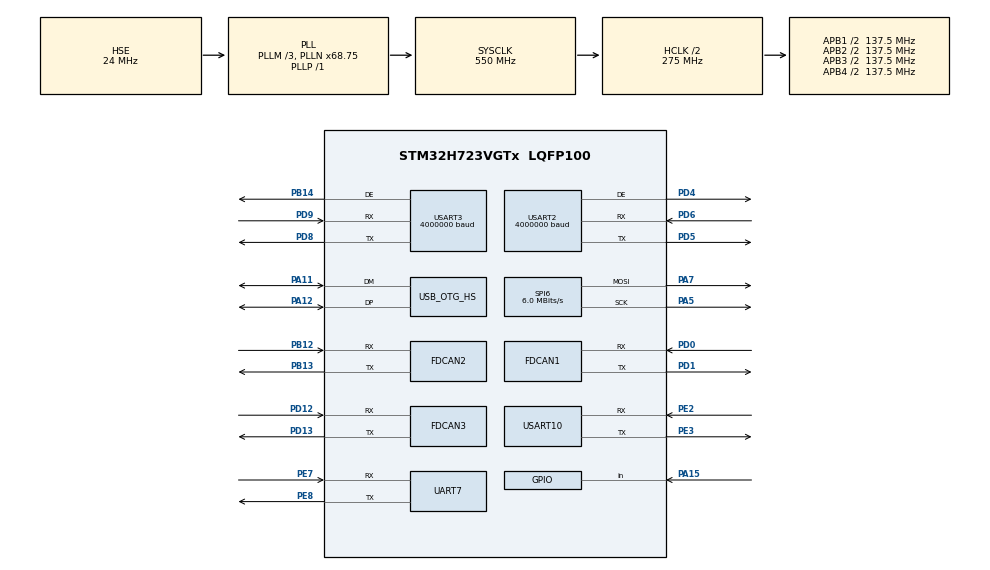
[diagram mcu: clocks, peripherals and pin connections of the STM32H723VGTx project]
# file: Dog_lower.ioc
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CORTEX_M7.AccessPermission_Spec=MPU_REGION_FULL_ACCESS
CORTEX_M7.BaseAddress_Spec=0x30000000
CORTEX_M7.CPU_DCache=Enabled
CORTEX_M7.CPU_ICache=Enabled
CORTEX_M7.DisableExec_Spec=MPU_INSTRUCTION_ACCESS_ENABLE
CORTEX_M7.Enable_S-Cortex_Memory_Protection_Unit_Region1_Settings_S=__NULL
CORTEX_M7.Enable_S-Cortex_Memory_Protection_Unit_Region2_Settings_S=__NULL
CORTEX_M7.Enable_Spec=MPU_REGION_ENABLE
CORTEX_M7.IsBufferable_Spec=MPU_ACCESS_NOT_BUFFERABLE
CORTEX_M7.IsCacheable_Spec=MPU_ACCESS_NOT_CACHEABLE
CORTEX_M7.IsShareable_Spec=MPU_ACCESS_NOT_SHAREABLE
CORTEX_M7.MPU_Control=MPU_PRIVILEGED_DEFAULT
CORTEX_M7.Size_Spec=MPU_REGION_SIZE_128KB
CORTEX_M7.SubRegionDisable_Spec=0x0
CORTEX_M7.TypeExtField_Spec=MPU_TEX_LEVEL1
CORTEX_M7.default_mode_Activation=1
Dma.Request0=UART7_RX
Dma.Request1=UART7_TX
Dma.Request2=USART2_RX
Dma.Request3=USART2_TX
Dma.Request4=USART3_RX
Dma.Request5=USART3_TX
Dma.Request6=USART10_RX
Dma.Request7=USART10_TX
Dma.UART7_RX.0.Direction=DMA_PERIPH_TO_MEMORY
Dma.UART7_RX.0.EventEnable=DISABLE
Dma.UART7_RX.0.FIFOMode=DMA_FIFOMODE_DISABLE
Dma.UART7_RX.0.Instance=DMA2_Stream2
Dma.UART7_RX.0.MemDataAlignment=DMA_MDATAALIGN_BYTE
Dma.UART7_RX.0.MemInc=DMA_MINC_ENABLE
Dma.UART7_RX.0.Mode=DMA_NORMAL
Dma.UART7_RX.0.PeriphDataAlignment=DMA_PDATAALIGN_BYTE
Dma.UART7_RX.0.PeriphInc=DMA_PINC_DISABLE
Dma.UART7_RX.0.Polarity=HAL_DMAMUX_REQ_GEN_RISING
Dma.UART7_RX.0.Priority=DMA_PRIORITY_LOW
Dma.UART7_RX.0.RequestNumber=1
Dma.UART7_RX.0.SignalID=NONE
Dma.UART7_RX.0.SyncEnable=DISABLE
Dma.UART7_RX.0.SyncPolarity=HAL_DMAMUX_SYNC_NO_EVENT
Dma.UART7_RX.0.SyncRequestNumber=1
Dma.UART7_RX.0.SyncSignalID=NONE
Dma.UART7_TX.1.Direction=DMA_MEMORY_TO_PERIPH
Dma.UART7_TX.1.EventEnable=DISABLE
Dma.UART7_TX.1.FIFOMode=DMA_FIFOMODE_DISABLE
Dma.UART7_TX.1.Instance=DMA2_Stream3
Dma.UART7_TX.1.MemDataAlignment=DMA_MDATAALIGN_BYTE
Dma.UART7_TX.1.MemInc=DMA_MINC_ENABLE
Dma.UART7_TX.1.Mode=DMA_NORMAL
Dma.UART7_TX.1.PeriphDataAlignment=DMA_PDATAALIGN_BYTE
Dma.UART7_TX.1.PeriphInc=DMA_PINC_DISABLE
Dma.UART7_TX.1.Polarity=HAL_DMAMUX_REQ_GEN_RISING
Dma.UART7_TX.1.Priority=DMA_PRIORITY_LOW
Dma.UART7_TX.1.RequestNumber=1
Dma.UART7_TX.1.SignalID=NONE
Dma.UART7_TX.1.SyncEnable=DISABLE
Dma.UART7_TX.1.SyncPolarity=HAL_DMAMUX_SYNC_NO_EVENT
Dma.UART7_TX.1.SyncRequestNumber=1
Dma.UART7_TX.1.SyncSignalID=NONE
Dma.USART10_RX.6.Direction=DMA_PERIPH_TO_MEMORY
Dma.USART10_RX.6.EventEnable=DISABLE
Dma.USART10_RX.6.FIFOMode=DMA_FIFOMODE_DISABLE
Dma.USART10_RX.6.Instance=DMA2_Stream0
Dma.USART10_RX.6.MemDataAlignment=DMA_MDATAALIGN_BYTE
Dma.USART10_RX.6.MemInc=DMA_MINC_ENABLE
Dma.USART10_RX.6.Mode=DMA_NORMAL
Dma.USART10_RX.6.PeriphDataAlignment=DMA_PDATAALIGN_BYTE
Dma.USART10_RX.6.PeriphInc=DMA_PINC_DISABLE
Dma.USART10_RX.6.Polarity=HAL_DMAMUX_REQ_GEN_RISING
Dma.USART10_RX.6.Priority=DMA_PRIORITY_MEDIUM
Dma.USART10_RX.6.RequestNumber=1
Dma.USART10_RX.6.SignalID=NONE
Dma.USART10_RX.6.SyncEnable=DISABLE
Dma.USART10_RX.6.SyncPolarity=HAL_DMAMUX_SYNC_NO_EVENT
Dma.USART10_RX.6.SyncRequestNumber=1
Dma.USART10_RX.6.SyncSignalID=NONE
Dma.USART10_TX.7.Direction=DMA_MEMORY_TO_PERIPH
Dma.USART10_TX.7.EventEnable=DISABLE
Dma.USART10_TX.7.FIFOMode=DMA_FIFOMODE_DISABLE
Dma.USART10_TX.7.Instance=DMA2_Stream1
Dma.USART10_TX.7.MemDataAlignment=DMA_MDATAALIGN_BYTE
Dma.USART10_TX.7.MemInc=DMA_MINC_ENABLE
Dma.USART10_TX.7.Mode=DMA_NORMAL
Dma.USART10_TX.7.PeriphDataAlignment=DMA_PDATAALIGN_BYTE
Dma.USART10_TX.7.PeriphInc=DMA_PINC_DISABLE
Dma.USART10_TX.7.Polarity=HAL_DMAMUX_REQ_GEN_RISING
Dma.USART10_TX.7.Priority=DMA_PRIORITY_LOW
Dma.USART10_TX.7.RequestNumber=1
Dma.USART10_TX.7.SignalID=NONE
Dma.USART10_TX.7.SyncEnable=DISABLE
Dma.USART10_TX.7.SyncPolarity=HAL_DMAMUX_SYNC_NO_EVENT
Dma.USART10_TX.7.SyncRequestNumber=1
Dma.USART10_TX.7.SyncSignalID=NONE
Dma.USART2_RX.2.Direction=DMA_PERIPH_TO_MEMORY
Dma.USART2_RX.2.EventEnable=DISABLE
Dma.USART2_RX.2.FIFOMode=DMA_FIFOMODE_DISABLE
Dma.USART2_RX.2.Instance=DMA1_Stream0
Dma.USART2_RX.2.MemDataAlignment=DMA_MDATAALIGN_BYTE
Dma.USART2_RX.2.MemInc=DMA_MINC_ENABLE
Dma.USART2_RX.2.Mode=DMA_NORMAL
Dma.USART2_RX.2.PeriphDataAlignment=DMA_PDATAALIGN_BYTE
Dma.USART2_RX.2.PeriphInc=DMA_PINC_DISABLE
Dma.USART2_RX.2.Polarity=HAL_DMAMUX_REQ_GEN_RISING
Dma.USART2_RX.2.Priority=DMA_PRIORITY_VERY_HIGH
Dma.USART2_RX.2.RequestNumber=1
Dma.USART2_RX.2.SignalID=NONE
Dma.USART2_RX.2.SyncEnable=DISABLE
Dma.USART2_RX.2.SyncPolarity=HAL_DMAMUX_SYNC_NO_EVENT
Dma.USART2_RX.2.SyncRequestNumber=1
Dma.USART2_RX.2.SyncSignalID=NONE
Dma.USART2_TX.3.Direction=DMA_MEMORY_TO_PERIPH
Dma.USART2_TX.3.EventEnable=DISABLE
Dma.USART2_TX.3.FIFOMode=DMA_FIFOMODE_DISABLE
Dma.USART2_TX.3.Instance=DMA1_Stream1
Dma.USART2_TX.3.MemDataAlignment=DMA_MDATAALIGN_BYTE
Dma.USART2_TX.3.MemInc=DMA_MINC_ENABLE
Dma.USART2_TX.3.Mode=DMA_NORMAL
Dma.USART2_TX.3.PeriphDataAlignment=DMA_PDATAALIGN_BYTE
Dma.USART2_TX.3.PeriphInc=DMA_PINC_DISABLE
Dma.USART2_TX.3.Polarity=HAL_DMAMUX_REQ_GEN_RISING
Dma.USART2_TX.3.Priority=DMA_PRIORITY_VERY_HIGH
Dma.USART2_TX.3.RequestNumber=1
Dma.USART2_TX.3.SignalID=NONE
Dma.USART2_TX.3.SyncEnable=DISABLE
Dma.USART2_TX.3.SyncPolarity=HAL_DMAMUX_SYNC_NO_EVENT
Dma.USART2_TX.3.SyncRequestNumber=1
Dma.USART2_TX.3.SyncSignalID=NONE
Dma.USART3_RX.4.Direction=DMA_PERIPH_TO_MEMORY
Dma.USART3_RX.4.EventEnable=DISABLE
Dma.USART3_RX.4.FIFOMode=DMA_FIFOMODE_DISABLE
Dma.USART3_RX.4.Instance=DMA1_Stream2
Dma.USART3_RX.4.MemDataAlignment=DMA_MDATAALIGN_BYTE
Dma.USART3_RX.4.MemInc=DMA_MINC_ENABLE
Dma.USART3_RX.4.Mode=DMA_NORMAL
Dma.USART3_RX.4.PeriphDataAlignment=DMA_PDATAALIGN_BYTE
Dma.USART3_RX.4.PeriphInc=DMA_PINC_DISABLE
Dma.USART3_RX.4.Polarity=HAL_DMAMUX_REQ_GEN_RISING
Dma.USART3_RX.4.Priority=DMA_PRIORITY_VERY_HIGH
Dma.USART3_RX.4.RequestNumber=1
Dma.USART3_RX.4.SignalID=NONE
Dma.USART3_RX.4.SyncEnable=DISABLE
Dma.USART3_RX.4.SyncPolarity=HAL_DMAMUX_SYNC_NO_EVENT
Dma.USART3_RX.4.SyncRequestNumber=1
Dma.USART3_RX.4.SyncSignalID=NONE
Dma.USART3_TX.5.Direction=DMA_MEMORY_TO_PERIPH
Dma.USART3_TX.5.EventEnable=DISABLE
Dma.USART3_TX.5.FIFOMode=DMA_FIFOMODE_DISABLE
Dma.USART3_TX.5.Instance=DMA1_Stream3
Dma.USART3_TX.5.MemDataAlignment=DMA_MDATAALIGN_BYTE
Dma.USART3_TX.5.MemInc=DMA_MINC_ENABLE
Dma.USART3_TX.5.Mode=DMA_NORMAL
Dma.USART3_TX.5.PeriphDataAlignment=DMA_PDATAALIGN_BYTE
Dma.USART3_TX.5.PeriphInc=DMA_PINC_DISABLE
Dma.USART3_TX.5.Polarity=HAL_DMAMUX_REQ_GEN_RISING
Dma.USART3_TX.5.Priority=DMA_PRIORITY_VERY_HIGH
Dma.USART3_TX.5.RequestNumber=1
Dma.USART3_TX.5.SignalID=NONE
Dma.USART3_TX.5.SyncEnable=DISABLE
Dma.USART3_TX.5.SyncPolarity=HAL_DMAMUX_SYNC_NO_EVENT
Dma.USART3_TX.5.SyncRequestNumber=1
Dma.USART3_TX.5.SyncSignalID=NONE
FDCAN1.CalculateBaudRateNominal=1000000
FDCAN1.CalculateTimeBitNominal=1000
FDCAN1.CalculateTimeQuantumNominal=100.0
FDCAN1.ExtFiltersNbr=1
FDCAN1.NominalPrescaler=12
FDCAN1.NominalTimeSeg1=6
FDCAN1.NominalTimeSeg2=3
FDCAN1.RxFifo0ElmtsNbr=32
FDCAN1.StdFiltersNbr=1
FDCAN1.TxBuffersNbr=0
FDCAN1.TxFifoQueueElmtsNbr=32
FDCAN2.CalculateBaudRateNominal=1000000
FDCAN2.CalculateTimeBitNominal=1000
FDCAN2.CalculateTimeQuantumNominal=100.0
FDCAN2.NominalPrescaler=12
FDCAN2.NominalTimeSeg1=6
FDCAN2.NominalTimeSeg2=3
FDCAN2.TxBuffersNbr=32
FDCAN3.CalculateBaudRateNominal=1000000
FDCAN3.CalculateTimeBitNominal=1000
FDCAN3.CalculateTimeQuantumNominal=100.0
FDCAN3.NominalPrescaler=12
FDCAN3.NominalTimeSeg1=6
FDCAN3.NominalTimeSeg2=3
FDCAN3.TxBuffersNbr=32
FREERTOS.INCLUDE_uxTaskGetStackHighWaterMark=1
FREERTOS.INCLUDE_vTaskDelayUntil=1
FREERTOS.Tasks01=defaultTask,0,128,StartDefaultTask,Default,NULL,Dynamic,NULL,NULL
Mcu.Family=STM32H7
Mcu.Name=STM32H723VGTx
Mcu.Package=LQFP100
NVIC.DMA1_Stream0_IRQn=true\:5\:0\:false\:false\:true\:true\:false\:true\:true
NVIC.DMA1_Stream1_IRQn=true\:5\:0\:false\:false\:true\:true\:false\:true\:true
NVIC.DMA1_Stream2_IRQn=true\:5\:0\:false\:false\:true\:false\:false\:true\:true
NVIC.DMA1_Stream3_IRQn=true\:5\:0\:false\:false\:true\:false\:false\:true\:true
NVIC.DMA2_Stream0_IRQn=true\:5\:0\:false\:false\:true\:false\:false\:true\:true
NVIC.DMA2_Stream1_IRQn=true\:5\:0\:false\:false\:true\:false\:false\:true\:true
NVIC.DMA2_Stream2_IRQn=true\:5\:0\:false\:false\:true\:false\:false\:true\:true
NVIC.DMA2_Stream3_IRQn=true\:5\:0\:false\:false\:true\:false\:false\:true\:true
NVIC.FDCAN1_IT0_IRQn=true\:5\:0\:false\:false\:true\:true\:true\:true\:true
NVIC.OTG_HS_EP1_IN_IRQn=true\:7\:0\:true\:false\:true\:true\:true\:true\:true
NVIC.OTG_HS_EP1_OUT_IRQn=true\:7\:0\:true\:false\:true\:true\:true\:true\:true
NVIC.OTG_HS_IRQn=true\:7\:0\:true\:false\:true\:true\:true\:true\:true
NVIC.PriorityGroup=NVIC_PRIORITYGROUP_4
NVIC.SPI6_IRQn=true\:5\:0\:false\:false\:true\:true\:true\:true\:true
NVIC.TIM7_IRQn=true\:15\:0\:false\:false\:true\:false\:false\:true\:true
NVIC.TIM8_UP_TIM13_IRQn=true\:5\:0\:false\:false\:true\:true\:true\:true\:true
NVIC.TimeBase=TIM7_IRQn
NVIC.TimeBaseIP=TIM7
NVIC.UART7_IRQn=true\:5\:0\:false\:false\:true\:true\:false\:true\:true
NVIC.USART10_IRQn=true\:5\:0\:false\:false\:true\:true\:true\:true\:true
NVIC.USART2_IRQn=true\:5\:0\:false\:false\:true\:true\:false\:true\:true
NVIC.USART3_IRQn=true\:5\:0\:false\:false\:true\:true\:true\:true\:true
PA11.Mode=Device_Only_FS
PA11.Signal=USB_OTG_HS_DM
PA12.Mode=Device_Only_FS
PA12.Signal=USB_OTG_HS_DP
PA13(JTMS/SWDIO).Mode=Serial_Wire
PA13(JTMS/SWDIO).Signal=DEBUG_JTMS-SWDIO
PA14(JTCK/SWCLK).Mode=Serial_Wire
PA14(JTCK/SWCLK).Signal=DEBUG_JTCK-SWCLK
PA15(JTDI).GPIO_PuPd=GPIO_PULLUP
PA15(JTDI).Signal=GPIO_Input
PA5.Mode=TX_Only_Simplex_Unidirect_Master
PA5.Signal=SPI6_SCK
PA7.Mode=TX_Only_Simplex_Unidirect_Master
PA7.Signal=SPI6_MOSI
PB12.Mode=FDCAN_Activate
PB12.Signal=FDCAN2_RX
PB13.Mode=FDCAN_Activate
PB13.Signal=FDCAN2_TX
PB14.GPIO_Speed=GPIO_SPEED_FREQ_VERY_HIGH
PB14.Mode=Hardware Flow Control (RS485)
PB14.Signal=USART3_DE
PC15-OSC32_OUT.Signal=RCC_OSC32_OUT
PD0.Mode=FDCAN_Activate
PD0.Signal=FDCAN1_RX
PD1.Mode=FDCAN_Activate
PD1.Signal=FDCAN1_TX
PD12.Mode=FDCAN_Activate
PD12.Signal=FDCAN3_RX
PD13.Mode=FDCAN_Activate
PD13.Signal=FDCAN3_TX
PD4.GPIO_Speed=GPIO_SPEED_FREQ_VERY_HIGH
PD4.Mode=Hardware Flow Control (RS485)
PD4.Signal=USART2_DE
PD5.GPIO_Speed=GPIO_SPEED_FREQ_VERY_HIGH
PD5.Mode=Asynchronous
PD5.Signal=USART2_TX
PD6.GPIO_Speed=GPIO_SPEED_FREQ_VERY_HIGH
PD6.Mode=Asynchronous
PD6.Signal=USART2_RX
PD8.GPIO_Speed=GPIO_SPEED_FREQ_VERY_HIGH
PD8.Mode=Asynchronous
PD8.Signal=USART3_TX
PD9.GPIO_Speed=GPIO_SPEED_FREQ_VERY_HIGH
PD9.Mode=Asynchronous
PD9.Signal=USART3_RX
PE2.Mode=Asynchronous
PE2.Signal=USART10_RX
PE3.Mode=Asynchronous
PE3.Signal=USART10_TX
PE7.Mode=Asynchronous
PE7.Signal=UART7_RX
PE8.Mode=Asynchronous
PE8.Signal=UART7_TX
PH0-OSC_IN.Mode=HSE-External-Oscillator
PH0-OSC_IN.Signal=RCC_OSC_IN
PH1-OSC_OUT.Mode=HSE-External-Oscillator
PH1-OSC_OUT.Signal=RCC_OSC_OUT
ProjectManager.HeapSize=0x200
ProjectManager.StackSize=0x800
ProjectManager.TargetToolchain=CMake
RCC.ADCFreq_Value=240000000
RCC.APB1Freq_Value=137500000
RCC.APB2Freq_Value=137500000
RCC.APB3Freq_Value=137500000
RCC.APB4Freq_Value=137500000
RCC.CortexFreq_Value=550000000
RCC.D1PPRE=RCC_APB3_DIV2
RCC.D2PPRE1=RCC_APB1_DIV2
RCC.D2PPRE2=RCC_APB2_DIV2
RCC.D3PPRE=RCC_APB4_DIV2
RCC.DIVM1=3
RCC.DIVM2=2
RCC.DIVM3=2
RCC.DIVN1=68
RCC.DIVN2=40
RCC.DIVN3=16
RCC.DIVP1=1
RCC.DIVQ1=4
RCC.DIVQ2=4
RCC.DIVQ3=4
RCC.FDCANCLockSelection=RCC_FDCANCLKSOURCE_PLL2
RCC.HCLKFreq_Value=275000000
RCC.HPRE=RCC_HCLK_DIV2
RCC.HSE_VALUE=24000000
RCC.PLL2FRACN=0
RCC.PLL3FRACN=0
RCC.PLLFRACN=6144
RCC.PLLSourceVirtual=RCC_PLLSOURCE_HSE
RCC.PWR_Regulator_Voltage_Scale=PWR_REGULATOR_VOLTAGE_SCALE0
RCC.SPI6CLockSelection=RCC_SPI6CLKSOURCE_HSE
RCC.SYSCLKFreq_VALUE=550000000
RCC.SYSCLKSource=RCC_SYSCLKSOURCE_PLLCLK
RCC.SupplySource=PWR_LDO_SUPPLY
RCC.USBCLockSelection=RCC_USBCLKSOURCE_PLL3
RCC.USBFreq_Value=48000000
SPI6.BaudRatePrescaler=SPI_BAUDRATEPRESCALER_4
SPI6.CLKPhase=SPI_PHASE_2EDGE
SPI6.CalculateBaudRate=6.0 MBits/s
SPI6.DataSize=SPI_DATASIZE_8BIT
SPI6.Direction=SPI_DIRECTION_2LINES_TXONLY
SPI6.Mode=SPI_MODE_MASTER
SPI6.VirtualType=VM_MASTER
TIM13.Period=1000-1
TIM13.Prescaler=275-1
USART10.VirtualMode=VM_ASYNC
USART2.BaudRate=4000000
USART2.VirtualMode-Asynchronous=VM_ASYNC
USART2.VirtualMode-Hardware\ Flow\ Control\ (RS485)=VM_ASYNC
USART3.BaudRate=4000000
USART3.VirtualMode-Asynchronous=VM_ASYNC
USART3.VirtualMode-Hardware\ Flow\ Control\ (RS485)=VM_ASYNC
USB_DEVICE.CLASS_NAME_HS=CDC
USB_DEVICE.VirtualMode=Cdc
USB_DEVICE.VirtualModeHS=Cdc_HS
USB_OTG_HS.VirtualMode-Device_Only_FS=Device_Only_FS
USB_OTG_HS.dma_enable-Device_Only_FS=DISABLE
VP_FREERTOS_VS_CMSIS_V1.Mode=CMSIS_V1
VP_MEMORYMAP_VS_MEMORYMAP.Mode=CurAppReg
VP_SYS_VS_tim7.Mode=TIM7
VP_TIM13_VS_ClockSourceINT.Mode=Enable_Timer
VP_USB_DEVICE_VS_USB_DEVICE_CDC_HS.Mode=CDC_HS
board=custom

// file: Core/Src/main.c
/* USER CODE BEGIN Header */
/**
  ******************************************************************************
  * @file           : main.c
  * @brief          : Main program body
  ******************************************************************************
  * @attention
  *
  * Copyright (c) 2026 STMicroelectronics.
  * All rights reserved.
  *
  * This software is licensed under terms that can be found in the LICENSE file
  * in the root directory of this software component.
  * If no LICENSE file comes with this software, it is provided AS-IS.
  *
  ******************************************************************************
  */
/* USER CODE END Header */
#include "main.h"
#include "cmsis_os.h"
#include "dma.h"
#include "fdcan.h"
#include "spi.h"
#include "tim.h"
#include "usart.h"
#include "usb_device.h"
#include "gpio.h"

/* USER CODE BEGIN Includes */
#include "run.h"
#include "FDCANDriver.h"
/* USER CODE END Includes */

/* USER CODE BEGIN PV */
extern DMA_HandleTypeDef hdma_usart6_rx;
extern uint8_t remote_control_buf[12];
/* USER CODE END PV */

void SystemClock_Config(void);
void PeriphCommonClock_Config(void);
static void MPU_Config(void);
void MX_FREERTOS_Init(void);

int main(void)
{

  /* MPU Configuration--------------------------------------------------------*/
  MPU_Config();

  /* Enable the CPU Cache */

  /* Enable I-Cache---------------------------------------------------------*/
  SCB_EnableICache();

  /* Enable D-Cache---------------------------------------------------------*/
  SCB_EnableDCache();

  /* MCU Configuration--------------------------------------------------------*/

  /* Reset of all peripherals, Initializes the Flash interface and the Systick. */
  HAL_Init();

  /* Configure the system clock */
  SystemClock_Config();

  /* Configure the peripherals common clocks */
  PeriphCommonClock_Config();

  /* Initialize all configured peripherals */
  MX_GPIO_Init();
  MX_DMA_Init();
  MX_SPI6_Init();
  MX_UART7_Init();
  MX_USART2_UART_Init();
  MX_USART3_UART_Init();
  MX_USART10_UART_Init();
  MX_FDCAN1_Init();
  MX_FDCAN2_Init();
  MX_FDCAN3_Init();
  MX_TIM13_Init();

  /* Call init function for freertos objects (in cmsis_os2.c) */
  MX_FREERTOS_Init();

  /* Start scheduler */
  osKernelStart();

  /* We should never get here as control is now taken by the scheduler */

  /* Infinite loop */
  while (1)
  {

  }
}

void SystemClock_Config(void)
{
  RCC_OscInitTypeDef RCC_OscInitStruct = {0};
  RCC_ClkInitTypeDef RCC_ClkInitStruct = {0};

  /** Supply configuration update enable
  */
  HAL_PWREx_ConfigSupply(PWR_LDO_SUPPLY);

  /** Configure the main internal regulator output voltage
  */
  __HAL_PWR_VOLTAGESCALING_CONFIG(PWR_REGULATOR_VOLTAGE_SCALE0);

  while(!__HAL_PWR_GET_FLAG(PWR_FLAG_VOSRDY)) {}

  /** Initializes the RCC Oscillators according to the specified parameters
  * in the RCC_OscInitTypeDef structure.
  */
  RCC_OscInitStruct.OscillatorType = RCC_OSCILLATORTYPE_HSE;
  RCC_OscInitStruct.HSEState = RCC_HSE_ON;
  RCC_OscInitStruct.PLL.PLLState = RCC_PLL_ON;
  RCC_OscInitStruct.PLL.PLLSource = RCC_PLLSOURCE_HSE;
  RCC_OscInitStruct.PLL.PLLM = 3;
  RCC_OscInitStruct.PLL.PLLN = 68;
  RCC_OscInitStruct.PLL.PLLP = 1;
  RCC_OscInitStruct.PLL.PLLQ = 4;
  RCC_OscInitStruct.PLL.PLLR = 2;
  RCC_OscInitStruct.PLL.PLLRGE = RCC_PLL1VCIRANGE_3;
  RCC_OscInitStruct.PLL.PLLVCOSEL = RCC_PLL1VCOWIDE;
  RCC_OscInitStruct.PLL.PLLFRACN = 6144;
  if (HAL_RCC_OscConfig(&RCC_OscInitStruct) != HAL_OK)
  {
    Error_Handler();
  }

  /** Initializes the CPU, AHB and APB buses clocks
  */
  RCC_ClkInitStruct.ClockType = RCC_CLOCKTYPE_HCLK|RCC_CLOCKTYPE_SYSCLK
                              |RCC_CLOCKTYPE_PCLK1|RCC_CLOCKTYPE_PCLK2
                              |RCC_CLOCKTYPE_D3PCLK1|RCC_CLOCKTYPE_D1PCLK1;
  RCC_ClkInitStruct.SYSCLKSource = RCC_SYSCLKSOURCE_PLLCLK;
  RCC_ClkInitStruct.SYSCLKDivider = RCC_SYSCLK_DIV1;
  RCC_ClkInitStruct.AHBCLKDivider = RCC_HCLK_DIV2;
  RCC_ClkInitStruct.APB3CLKDivider = RCC_APB3_DIV2;
  RCC_ClkInitStruct.APB1CLKDivider = RCC_APB1_DIV2;
  RCC_ClkInitStruct.APB2CLKDivider = RCC_APB2_DIV2;
  RCC_ClkInitStruct.APB4CLKDivider = RCC_APB4_DIV2;

  if (HAL_RCC_ClockConfig(&RCC_ClkInitStruct, FLASH_LATENCY_3) != HAL_OK)
  {
    Error_Handler();
  }
}

void PeriphCommonClock_Config(void)
{
  RCC_PeriphCLKInitTypeDef PeriphClkInitStruct = {0};

  /** Initializes the peripherals clock
  */
  PeriphClkInitStruct.PeriphClockSelection = RCC_PERIPHCLK_FDCAN;
  PeriphClkInitStruct.PLL2.PLL2M = 2;
  PeriphClkInitStruct.PLL2.PLL2N = 40;
  PeriphClkInitStruct.PLL2.PLL2P = 2;
  PeriphClkInitStruct.PLL2.PLL2Q = 4;
  PeriphClkInitStruct.PLL2.PLL2R = 2;
  PeriphClkInitStruct.PLL2.PLL2RGE = RCC_PLL2VCIRANGE_3;
  PeriphClkInitStruct.PLL2.PLL2VCOSEL = RCC_PLL2VCOWIDE;
  PeriphClkInitStruct.PLL2.PLL2FRACN = 0;
  PeriphClkInitStruct.FdcanClockSelection = RCC_FDCANCLKSOURCE_PLL2;
  if (HAL_RCCEx_PeriphCLKConfig(&PeriphClkInitStruct) != HAL_OK)
  {
    Error_Handler();
  }
}

/* USER CODE BEGIN 4 */
extern volatile uint32_t bad_Motor;
extern volatile uint32_t reset_uart_front;
extern volatile uint32_t reset_uart_back;
extern MotorStatePack_t legs_state;
uint8_t tim_reset[16] = {0};
/* USER CODE END 4 */

 /* MPU Configuration */

void MPU_Config(void)
{
  MPU_Region_InitTypeDef MPU_InitStruct = {0};

  /* Disables the MPU */
  HAL_MPU_Disable();

  /** Initializes and configures the Region and the memory to be protected
  */
  MPU_InitStruct.Enable = MPU_REGION_ENABLE;
  MPU_InitStruct.Number = MPU_REGION_NUMBER0;
  MPU_InitStruct.BaseAddress = 0x30000000;
  MPU_InitStruct.Size = MPU_REGION_SIZE_128KB;
  MPU_InitStruct.SubRegionDisable = 0x0;
  MPU_InitStruct.TypeExtField = MPU_TEX_LEVEL1;
  MPU_InitStruct.AccessPermission = MPU_REGION_FULL_ACCESS;
  MPU_InitStruct.DisableExec = MPU_INSTRUCTION_ACCESS_ENABLE;
  MPU_InitStruct.IsShareable = MPU_ACCESS_NOT_SHAREABLE;
  MPU_InitStruct.IsCacheable = MPU_ACCESS_NOT_CACHEABLE;
  MPU_InitStruct.IsBufferable = MPU_ACCESS_NOT_BUFFERABLE;

  HAL_MPU_ConfigRegion(&MPU_InitStruct);
  /* Enables the MPU */
  HAL_MPU_Enable(MPU_PRIVILEGED_DEFAULT);

}

void HAL_TIM_PeriodElapsedCallback(TIM_HandleTypeDef *htim)
{
  /* USER CODE BEGIN Callback 0 */
  if(htim->Instance==TIM13)
		{
	    uint32_t watch_dog_mask = 0;
	    uint32_t bad_motor_snapshot = bad_Motor;
	    for (int i = 0; i < 16; i++)
	    {
	      uint32_t motor_mask = 0x0001 << i;
	      if (bad_motor_snapshot & motor_mask)
	      {
	        if (tim_reset[i] < 255) tim_reset[i]++;
	        if (tim_reset[i] > 30 && tim_reset[i] < 80)
	        {
	          if (motor_mask & 0x00FF) reset_uart_front = 1;
	          if (motor_mask & 0xFF00) reset_uart_back = 1;
	        }
	        else if (tim_reset[i] > 80) watch_dog_mask |= motor_mask;
	      }
	      else
	      {
	        tim_reset[i] = 0;
	      }
	    }
	    legs_state.watch_dog = watch_dog_mask;
		}
  /* USER CODE END Callback 0 */
  if (htim->Instance == TIM7)
  {
    HAL_IncTick();
  }
}

void Error_Handler(void)
{
  __disable_irq();
  while (1)
  {
  }
}
